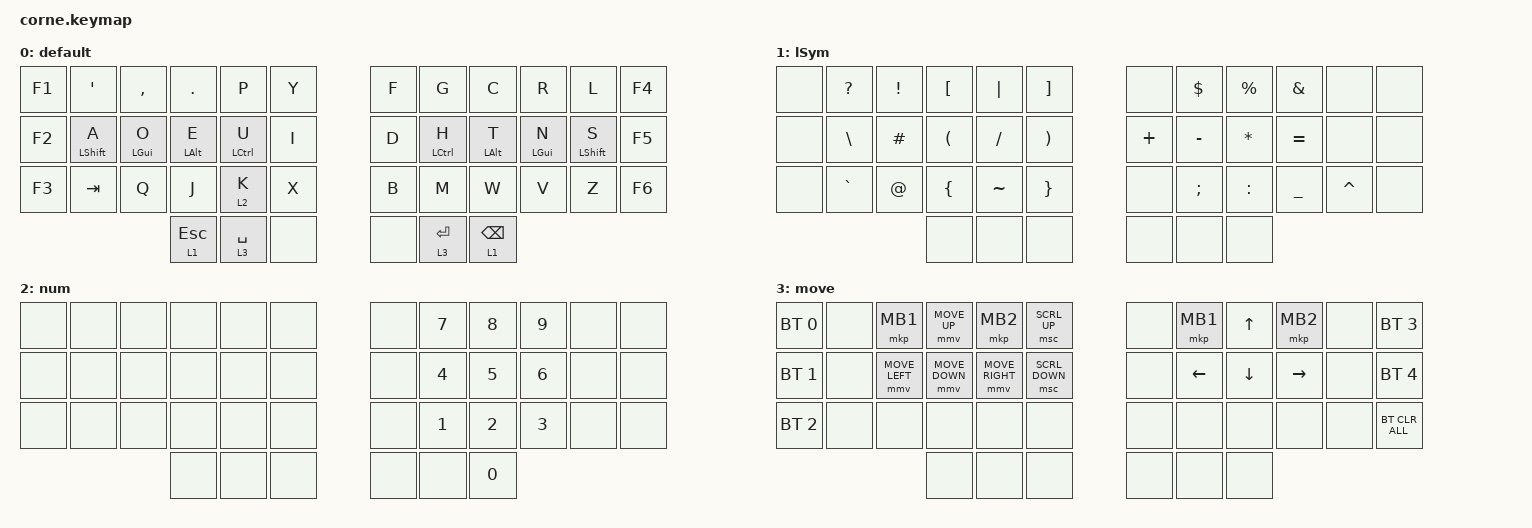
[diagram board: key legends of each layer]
/*
 * Copyright (c) 2020 The ZMK Contributors
 *
 * SPDX-License-Identifier: MIT
 */

#include <behaviors.dtsi>
#include <dt-bindings/zmk/bt.h>
#include <dt-bindings/zmk/keys.h>
#include <dt-bindings/zmk/pointing.h>

#define DEFAULT 0
#define LEFT_SYM 1
#define RIGHT_SYM 2
#define NUM 3
#define MOVE 4
#define OS_WM 5

/ {
    behaviors {
        hm: homerow_mods {
            compatible = "zmk,behavior-hold-tap";
            #binding-cells = <2>;
            tapping-term-ms = <150>;
            quick-tap-ms = <0>;
            flavor = "tap-preferred";
            bindings = <&kp>, <&kp>;
        };
    };

    combos {
        compatible = "zmk,combos";

        kb_off {
            bindings = <&soft_off>;
            key-positions = <11 0>;
        };

        caps_next {
            bindings = <&caps_word>;
            key-positions = <38 39>;
        };
    };

    keymap {
        compatible = "zmk,keymap";

        default {
            display-name = "default";
            bindings = <
&kp F1  &kp SQT           &kp COMMA       &kp DOT         &kp P        &kp Y    &kp F  &kp G        &kp C           &kp R           &kp L             &kp F4
&kp F2  &hm LEFT_SHIFT A  &hm LEFT_GUI O  &hm LEFT_ALT E  &hm LCTRL U  &kp I    &kp D  &hm LCTRL H  &hm LEFT_ALT T  &hm LEFT_GUI N  &hm LEFT_SHIFT S  &kp F5
&kp F3  &kp TAB           &kp Q           &kp J           &lt 2 K      &kp X    &kp B  &kp M        &kp W           &kp V           &kp Z             &kp F6
                                          &lt 1 ESC       &lt 3 SPACE  &none    &none  &lt 3 RET    &lt 1 BSPC
            >;
        };

        sym {
            display-name = "lSym";
            bindings = <
&none  &kp QUESTION   &kp EXCL  &kp LEFT_BRACKET      &kp PIPE   &kp RIGHT_BRACKET        &none     &kp DOLLAR     &kp PERCENT   &kp AMPERSAND  &none      &none
&none  &kp BACKSLASH  &kp HASH  &kp LEFT_PARENTHESIS  &kp SLASH  &kp RIGHT_PARENTHESIS    &kp PLUS  &kp MINUS      &kp ASTERISK  &kp EQUAL      &none      &none
&none  &kp GRAVE      &kp AT    &kp LEFT_BRACE        &kp TILDE  &kp RIGHT_BRACE          &none     &kp SEMICOLON  &kp COLON     &kp UNDER      &kp CARET  &none
                                &none                 &none      &none                    &none     &none          &none
            >;
        };

        num {
            label = "num";
            bindings = <
&none  &none  &none  &none  &none  &none    &none  &kp NUMBER_7  &kp NUMBER_8  &kp NUMBER_9  &none  &none
&none  &none  &none  &none  &none  &none    &none  &kp NUMBER_4  &kp NUMBER_5  &kp NUMBER_6  &none  &none
&none  &none  &none  &none  &none  &none    &none  &kp NUMBER_1  &kp NUMBER_2  &kp NUMBER_3  &none  &none
                     &none  &none  &none    &none  &none         &kp N0
            >;
        };

        move {
            label = "move";
            bindings = <
&bt BT_SEL 0  &none  &mkp MB1        &mmv MOVE_UP    &mkp MB2         &msc SCRL_UP      &none  &mkp MB1  &kp UP_ARROW    &mkp MB2         &none  &bt BT_SEL 3
&bt BT_SEL 1  &none  &mmv MOVE_LEFT  &mmv MOVE_DOWN  &mmv MOVE_RIGHT  &msc SCRL_DOWN    &none  &kp LEFT  &kp DOWN_ARROW  &kp RIGHT_ARROW  &none  &bt BT_SEL 4
&bt BT_SEL 2  &none  &none           &none           &none            &none             &none  &none     &none           &none            &none  &bt BT_CLR_ALL
                                     &none           &none            &none             &none  &none     &none
            >;
        };
    };
};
